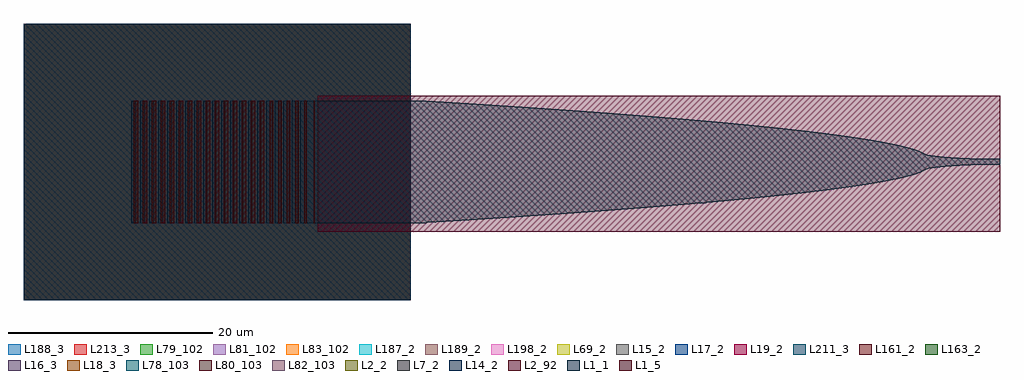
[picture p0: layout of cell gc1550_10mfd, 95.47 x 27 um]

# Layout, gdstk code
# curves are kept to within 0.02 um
import gdstk
lib = gdstk.Library(unit=1e-6, precision=1e-09)
def R(c, l, rs):  # rectangles x0, y0, x1, y1
    for r in rs: c.add(gdstk.rectangle(r[:2], r[2:], *l))
def A(c, l, x, y, w, h, nx, ny, dx, dy):  # array of equal rectangles
    R(c, l, [(x+i*dx, y+j*dy, x+i*dx+w, y+j*dy+h) for i in range(nx) for j in range(ny)])
def P(c, l, *ps):  # polygons
    for p in ps: c.add(gdstk.Polygon(p, *l))
L1_1 = (1, 1)
L1_5 = (1, 5)
L2_2 = (2, 2)
L2_92 = (2, 92)
L7_2 = (7, 2)
L14_2 = (14, 2)
L15_2 = (15, 2)
L16_3 = (16, 3)
L17_2 = (17, 2)
L18_3 = (18, 3)
L19_2 = (19, 2)
L69_2 = (69, 2)
L78_103 = (78, 103)
L79_102 = (79, 102)
L80_103 = (80, 103)
L81_102 = (81, 102)
L82_103 = (82, 103)
L83_102 = (83, 102)
L161_2 = (161, 2)
L163_2 = (163, 2)
L187_2 = (187, 2)
L188_3 = (188, 3)
L189_2 = (189, 2)
L198_2 = (198, 2)
L211_3 = (211, 3)
L213_3 = (213, 3)

gc1550_10mfd = lib.new_cell('gc1550_10mfd')
A(gc1550_10mfd, L1_1, -84.968, -6, 0.405, 12, 15, 1, 0.88, 0)
A(gc1550_10mfd, L1_1, -71.768, -6, 0.645, 12, 4, 1, 0.83, 0)
P(gc1550_10mfd, L1_1, [(-68.448,-6),(-68.448,6),(-56.928,6),(-56.258,5.975),(-49.676,5.573),(-41.782,5.038),(-35.192,4.546),(-29.224,4.051),(-29.224,-4.051),(-35.192,-4.546),(-41.782,-5.038),(-49.676,-5.573),(-56.258,-5.975),(-56.928,-6)],
  [(-14.613,-2.455),(-14.613,0.3),(0,0.3),(0,-0.3),(-2.11,-0.319),(-3.884,-0.382),(-5.544,-0.499),(-7.003,-0.662),(-7.294,-0.754),(-7.846,-1.017),(-8.291,-1.186),(-9.731,-1.585),(-11.866,-2.017)],
  [(-14.613,0.3),(-14.613,2.455),(-11.866,2.017),(-9.731,1.585),(-8.291,1.186),(-7.846,1.017),(-7.294,0.754),(-7.003,0.662),(-5.588,0.503),(-4.034,0.39),(-2.33,0.324),(-0.388,0.3)],
  [(-29.224,-4.051),(-29.224,4.051),(-24.891,3.651),(-20.966,3.247),(-17.571,2.852),(-14.613,2.455),(-14.614,-2.456),(-17.571,-2.852),(-20.966,-3.247),(-24.891,-3.651)])
A(gc1550_10mfd, L1_5, -84.748, -6, 0.455, 12, 15, 1, 0.88, 0)
A(gc1550_10mfd, L1_5, -71.438, -6, 0.365, 12, 4, 1, 0.83, 0)
R(gc1550_10mfd, L1_5, [(-68.043,-6,-67.798,6), (-67.118,-6,-67.018,6)])
R(gc1550_10mfd, L2_2, [(-95.473,-13.5,-57.655,13.5)])
R(gc1550_10mfd, L2_92, [(-66.715,-6.814,0,6.479)])
R(gc1550_10mfd, L7_2, [(-95.473,-13.5,-57.655,13.5)])
R(gc1550_10mfd, L14_2, [(-95.473,-13.5,-57.655,13.5)])
R(gc1550_10mfd, L15_2, [(-95.473,-13.5,-57.655,13.5)])
R(gc1550_10mfd, L16_3, [(-95.473,-13.5,-57.655,13.5)])
R(gc1550_10mfd, L17_2, [(-95.473,-13.5,-57.655,13.5)])
R(gc1550_10mfd, L18_3, [(-95.473,-13.5,-57.655,13.5)])
R(gc1550_10mfd, L19_2, [(-95.473,-13.5,-57.655,13.5)])
R(gc1550_10mfd, L69_2, [(-95.473,-13.5,-57.655,13.5)])
R(gc1550_10mfd, L78_103, [(-95.473,-13.5,-57.655,13.5)])
R(gc1550_10mfd, L79_102, [(-95.473,-13.5,-57.655,13.5)])
R(gc1550_10mfd, L80_103, [(-95.473,-13.5,-57.655,13.5)])
R(gc1550_10mfd, L81_102, [(-95.473,-13.5,-57.655,13.5)])
R(gc1550_10mfd, L82_103, [(-95.473,-13.5,-57.655,13.5)])
R(gc1550_10mfd, L83_102, [(-95.473,-13.5,-57.655,13.5)])
R(gc1550_10mfd, L161_2, [(-95.473,-13.5,-57.655,13.5)])
R(gc1550_10mfd, L163_2, [(-95.473,-13.5,-57.655,13.5)])
R(gc1550_10mfd, L187_2, [(-95.473,-13.5,-57.655,13.5)])
R(gc1550_10mfd, L188_3, [(-95.473,-13.5,-57.655,13.5)])
R(gc1550_10mfd, L189_2, [(-95.473,-13.5,-57.655,13.5)])
R(gc1550_10mfd, L198_2, [(-95.473,-13.5,-57.655,13.5)])
R(gc1550_10mfd, L211_3, [(-95.473,-13.5,-57.655,13.5)])
R(gc1550_10mfd, L213_3, [(-95.473,-13.5,-57.655,13.5)])

lib.write_gds('gc1550_10mfd.gds')
